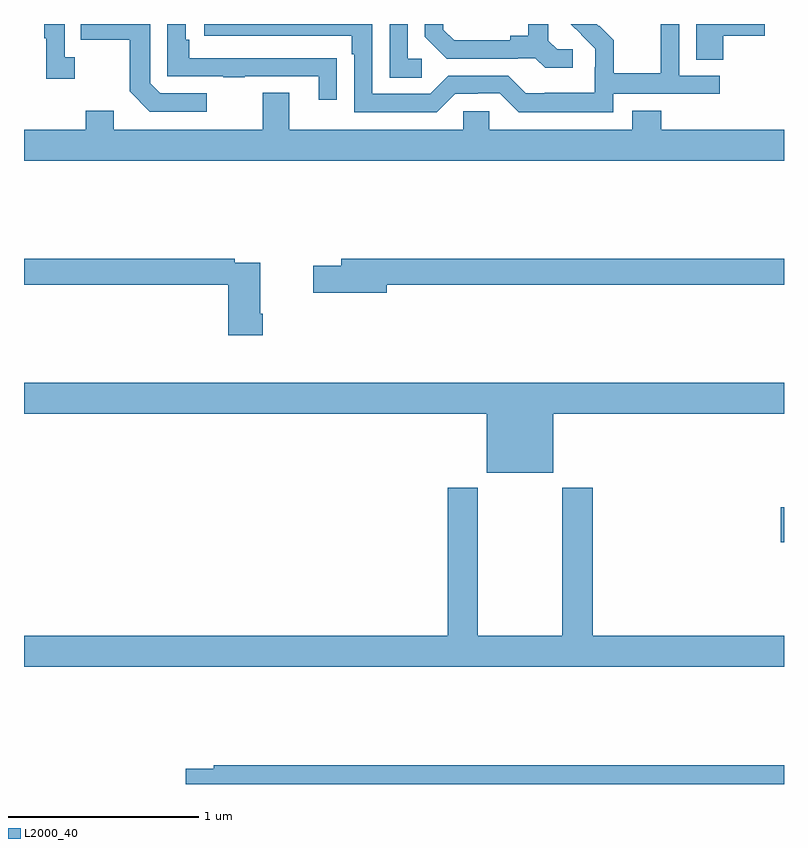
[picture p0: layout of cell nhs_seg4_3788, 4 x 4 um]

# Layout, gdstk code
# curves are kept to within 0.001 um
import gdstk
lib = gdstk.Library(unit=1e-6, precision=1e-09)
def R(c, l, rs):  # rectangles x0, y0, x1, y1
    for r in rs: c.add(gdstk.rectangle(r[:2], r[2:], *l))
def P(c, l, *ps):  # polygons
    for p in ps: c.add(gdstk.Polygon(p, *l))
L2000_40 = (2000, 40)

nhs_seg4_3788 = lib.new_cell('nhs_seg4_3788')
R(nhs_seg4_3788, L2000_40, [(314.982,768.173,315,768.356), (313.338,770.899,313.483,770.9)])
P(nhs_seg4_3788, L2000_40, [(312.647,770.72),(312.545,770.72),(312.545,770.721),(311.87,770.721),(311.87,770.818),(311.85,770.818),(311.85,770.9),(311.754,770.9),(311.754,770.625),(312.049,770.625),(312.049,770.62),(312.161,770.62),(312.161,770.625),(312.551,770.625),(312.551,770.502),(312.647,770.502)],
  [(311.266,770.726),(311.214,770.726),(311.214,770.9),(311.106,770.9),(311.106,770.825),(311.117,770.825),(311.117,770.613),(311.266,770.613)],
  [(314.1,770.532),(314.662,770.532),(314.662,770.628),(314.448,770.628),(314.448,770.9),(314.352,770.9),(314.352,770.864),(314.35,770.864),(314.35,770.641),(314.105,770.641),(314.105,770.815),(314.028,770.892),(314.025,770.889),(314.014,770.9),(313.878,770.9),(314.006,770.77),(314.006,770.673),(314.004,770.673),(314.004,770.539),(313.741,770.539),(313.741,770.535),(313.641,770.535),(313.548,770.628),(313.233,770.628),(313.137,770.532),(312.834,770.532),(312.834,770.9),(311.949,770.9),(311.949,770.838),(312.725,770.838),(312.725,770.741),(312.738,770.741),(312.738,770.436),(313.173,770.436),(313.269,770.532),(313.388,770.532),(313.388,770.535),(313.503,770.535),(313.603,770.435),(314.1,770.435)],
  [(313.888,770.766),(313.806,770.766),(313.759,770.813),(313.759,770.9),(313.655,770.9),(313.655,770.837),(313.559,770.837),(313.559,770.814),(313.264,770.814),(313.207,770.871),(313.207,770.9),(313.11,770.9),(313.11,770.834),(313.226,770.718),(313.598,770.718),(313.598,770.721),(313.692,770.721),(313.744,770.669),(313.888,770.669)],
  [(311.962,770.535),(311.718,770.535),(311.664,770.589),(311.664,770.9),(311.299,770.9),(311.299,770.818),(311.556,770.818),(311.556,770.545),(311.661,770.439),(311.962,770.439)],
  [(313.093,770.718),(313.02,770.718),(313.02,770.9),(312.924,770.9),(312.924,770.617),(313.093,770.617)],
  [(314.681,770.837),(314.899,770.837),(314.899,770.9),(314.537,770.9),(314.537,770.713),(314.681,770.713)],
  [(315,770.344),(314.354,770.344),(314.354,770.443),(314.201,770.443),(314.201,770.344),(313.449,770.344),(313.449,770.442),(313.311,770.442),(313.311,770.344),(312.397,770.344),(312.397,770.539),(312.257,770.539),(312.257,770.344),(311.473,770.344),(311.473,770.443),(311.326,770.443),(311.326,770.344),(311,770.344),(311,770.18),(315,770.18)],
  [(312.257,769.375),(312.244,769.375),(312.244,769.644),(312.11,769.644),(312.11,769.664),(311,769.664),(311,769.528),(312.074,769.528),(312.074,769.263),(312.257,769.263)],
  [(312.91,769.528),(315,769.528),(315,769.664),(312.671,769.664),(312.671,769.628),(312.522,769.628),(312.522,769.486),(312.91,769.486)],
  [(313.786,768.848),(315,768.848),(315,769.012),(311,769.012),(311,768.848),(313.436,768.848),(313.436,768.539),(313.786,768.539)],
  [(315,767.68),(313.994,767.68),(313.994,768.46),(313.834,768.46),(313.834,767.68),(313.389,767.68),(313.389,768.46),(313.229,768.46),(313.229,767.68),(311,767.68),(311,767.516),(315,767.516)],
  [(315,767),(311.998,767),(311.998,766.98),(311.852,766.98),(311.852,766.9),(315,766.9)])

lib.write_gds('nhs_seg4_3788.gds')
